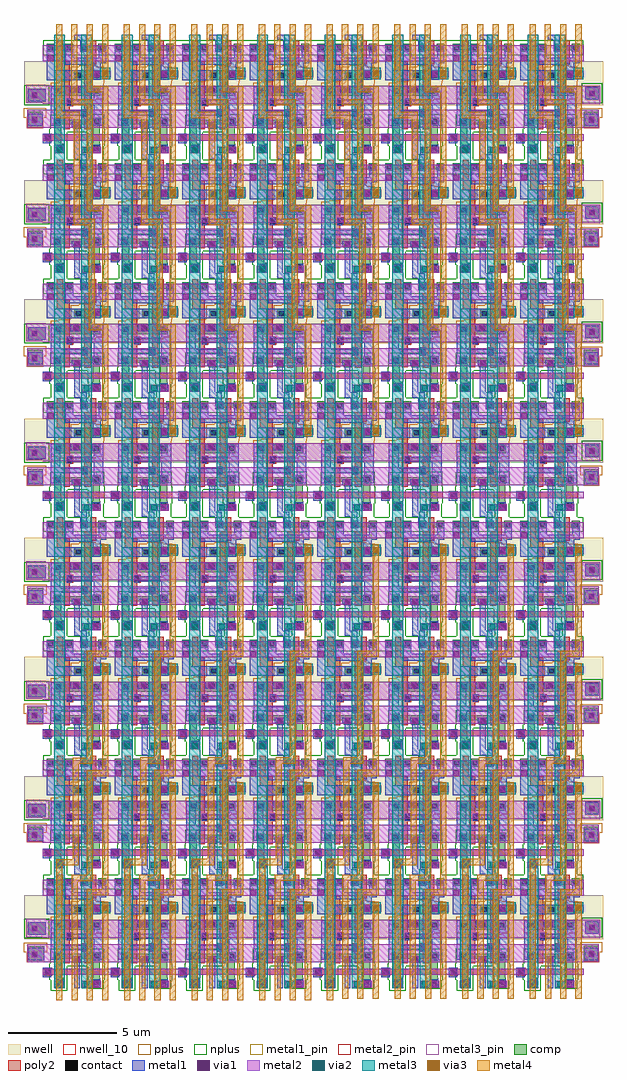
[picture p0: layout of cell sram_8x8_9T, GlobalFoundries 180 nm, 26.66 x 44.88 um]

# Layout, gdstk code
import gdstk
lib = gdstk.Library(unit=1e-6, precision=1e-09)
def R(c, l, rs):  # rectangles x0, y0, x1, y1
    for r in rs: c.add(gdstk.rectangle(r[:2], r[2:], *l))
def A(c, l, x, y, w, h, nx, ny, dx, dy):  # array of equal rectangles
    R(c, l, [(x+i*dx, y+j*dy, x+i*dx+w, y+j*dy+h) for i in range(nx) for j in range(ny)])
nwell = (21, 0)
nwell_10 = (21, 10)
comp = (22, 0)
poly2 = (30, 0)
pplus = (31, 0)
nplus = (32, 0)
contact = (33, 0)
metal1 = (34, 0)
metal1_pin = (34, 10)
via1 = (35, 0)
metal2 = (36, 0)
metal2_pin = (36, 10)
via2 = (38, 0)
via3 = (40, 0)
metal3 = (42, 0)
metal3_pin = (42, 10)
metal4 = (46, 0)

c_9t_tileable = lib.new_cell('9T_tileable')
R(c_9t_tileable, nwell, [(-0.715,-0.395,2.395,1.63)])
R(c_9t_tileable, nwell_10, [(0.595,0.165,1.01,0.485)])
R(c_9t_tileable, comp, [(-0.185,-2.6,0.255,-2.165), (1.555,-2.515,1.915,-2.17), (1.575,-2.17,1.895,-1.34), (-0.185,-2.165,0.135,-1.35), (0.675,-1.48,1.035,-1.28), (-0.225,-1.35,0.135,-1.28), (1.575,-1.34,1.935,-1.28), (-0.225,-1.28,1.935,-1.06), (-0.225,-1.06,0.135,-0.99), (1.575,-1.06,1.935,-0.985), (-0.205,0.04,1.915,0.48), (0.735,0.76,1.935,0.895), (0.735,0.895,1.955,1.185), (0.735,1.185,1.935,1.2), (-0.53,2.06,-0.17,2.125), (0.31,2.06,0.67,2.125), (0.995,2.06,1.355,2.125), (1.835,2.06,2.195,2.125), (-0.53,2.125,0.67,2.345), (0.995,2.125,2.195,2.345), (-0.53,2.345,-0.17,2.42), (0.31,2.345,0.67,2.42), (0.995,2.345,1.355,2.42), (1.835,2.345,2.195,2.42)])
R(c_9t_tileable, poly2, [(-0.65,-2.065,-0.29,-2.025), (-0.65,-2.025,2.115,-1.745), (-0.65,-1.745,-0.29,-1.705), (1.195,-1.505,1.475,-0.96), (0.235,-1.5,0.515,-0.445), (1.05,-0.96,1.475,-0.58), (1.195,-0.58,1.475,1.485), (0.235,-0.445,0.675,-0.08), (0.235,-0.08,0.515,1.18), (-0.07,1.18,0.515,1.615), (1.195,1.485,1.735,1.92), (-0.07,1.615,0.21,2.565), (1.455,1.92,1.735,2.565)])
R(c_9t_tileable, pplus, [(0.005,-0.19,1.705,-0.12), (-0.365,-0.12,2.075,0.6), (-0.365,0.6,2.095,0.64), (0.005,0.64,2.095,0.71), (0.575,0.71,2.095,0.735), (0.575,0.735,2.115,1.345), (0.575,1.345,2.095,1.36), (0.965,1.36,1.705,1.43)])
R(c_9t_tileable, nplus, [(-0.345,-2.76,0.415,-2.255), (1.395,-2.675,2.075,-2.255), (-0.415,-2.255,0.415,-1.64), (1.345,-2.255,2.125,-1.64), (-0.415,-1.64,2.125,-1.515), (-0.385,-1.515,2.095,-0.83), (1.415,-0.83,2.095,-0.825), (-0.3,1.895,0.44,1.9), (1.225,1.895,1.965,1.9), (-0.69,1.9,2.355,2.58)])
R(c_9t_tileable, contact, [(-0.035,-2.455,0.185,-2.235), (1.625,-2.445,1.845,-2.225), (-0.58,-1.995,-0.36,-1.775), (0.745,-1.41,0.965,-1.19), (-0.155,-1.28,0.065,-1.06), (1.645,-1.275,1.865,-1.055), (1.12,-0.875,1.34,-0.655), (0.385,-0.37,0.605,-0.15), (-0.135,0.15,0.085,0.37), (1.625,0.15,1.845,0.37), (0.745,0.17,0.965,0.39), (0.805,0.87,1.025,1.09), (1.645,0.87,1.865,1.09), (-0.46,2.13,-0.24,2.35), (0.38,2.13,0.6,2.35), (1.065,2.13,1.285,2.35), (1.905,2.13,2.125,2.35)])
R(c_9t_tileable, metal1, [(0.72,-2.645,0.985,-1.43), (-0.105,-2.6,0.285,-2.22), (1.525,-2.6,1.915,-2.22), (-0.715,-2.14,-0.325,-1.705), (0.62,-1.43,1.075,-1.165), (1.575,-1.35,2.065,-0.985), (-0.355,-1.335,0.11,-0.89), (1.62,-0.985,2.065,-0.365), (1.115,-0.935,1.345,-0.89), (-0.355,-0.89,1.345,-0.66), (-0.355,-0.66,0.09,0.145), (1.115,-0.66,1.345,-0.595), (0.38,-0.43,0.61,-0.365), (0.38,-0.365,2.065,-0.135), (0.38,-0.135,0.61,-0.09), (1.62,-0.135,2.065,0.145), (-0.355,0.145,0.13,0.475), (1.56,0.145,2.065,0.48), (0.535,0.165,1.07,0.485), (-0.53,0.755,1.075,1.2), (1.585,0.76,1.955,1.45), (-0.53,1.2,-0.17,2.37), (0.31,1.45,1.955,1.53), (0.31,1.53,2.195,1.775), (0.31,1.775,0.675,2.37), (1.86,1.775,2.195,2.12), (0.995,2.06,1.355,2.42), (1.835,2.12,2.195,2.355), (0.995,2.42,1.29,2.6), (0.72,2.6,1.29,2.835)])
R(c_9t_tileable, metal1_pin, [(-0.53,0.755,-0.17,1.63), (1.585,1.185,1.955,1.775)])
R(c_9t_tileable, via1, [(-0.045,-2.575,0.215,-2.315), (1.595,-2.575,1.855,-2.315), (-0.64,-2.01,-0.38,-1.75), (0.725,-1.43,0.985,-1.17), (0.67,0.195,0.93,0.455), (1.695,0.91,1.955,1.17), (-0.485,1.63,-0.225,1.89)])
R(c_9t_tileable, metal2, [(-0.205,-2.615,0.295,-2.305), (1.055,-2.615,1.955,-2.305), (-0.715,-2.025,2.395,-1.74), (-0.715,-1.44,2.395,-0.61), (-0.715,-0.33,2.395,0.5), (1.635,0.88,2.395,1.195), (-0.715,1.615,2.395,2.35)])
R(c_9t_tileable, metal2_pin, [(-0.64,-2.01,-0.38,-1.75), (0.725,-1.43,0.985,-1.165)])
R(c_9t_tileable, via2, [(-0.085,-2.59,0.175,-2.33), (1.165,-2.585,1.425,-2.325), (2.02,0.905,2.28,1.165)])
R(c_9t_tileable, via3, [(2.015,0.945,2.275,1.205)])
R(c_9t_tileable, metal3, [(-0.195,-2.645,0.295,2.835), (1.055,-2.645,1.54,-1.46), (1.05,-1.46,1.54,2.835), (1.925,0.8,2.37,1.315)])
R(c_9t_tileable, metal3_pin, [(-0.145,-2.6,0.24,-2.32), (1.105,-2.595,1.49,-2.315)])
R(c_9t_tileable, metal4, [(2.005,0.815,2.285,1.34)])
c_9t_tileable.add(gdstk.Label('Q', (1.842,-0.452), layer=34, texttype=0))
c_9t_tileable.add(gdstk.Label('QB', (-0.132,-0.455), layer=34, texttype=0))
c_9t_tileable.add(gdstk.Label('WBL', (0.047,-2.46), layer=42, texttype=10))
c_9t_tileable.add(gdstk.Label('WBLB', (1.297,-2.455), layer=36, texttype=10))
c_9t_tileable.add(gdstk.Label('WL', (-0.51,-1.88), layer=36, texttype=10))
c_9t_tileable.add(gdstk.Label('A', (-0.35,1.192), layer=34, texttype=10))
c_9t_tileable.add(gdstk.Label('RBL', (1.77,1.48), layer=34, texttype=10))
c_9t_tileable.add(gdstk.Label('VDD', (0.802,0.325), layer=21, texttype=10))
c_9t_tileable.add(gdstk.Label('VSS', (0.855,-1.297), layer=36, texttype=10))

sram_8x8_9t = lib.new_cell('sram_8x8_9T')
A(sram_8x8_9t, nwell, 24.88, 2.25, 0.89, 2.025, 1, 8, 0, 5.48)
A(sram_8x8_9t, nwell, -0.855, 18.795, 0.995, 0.83, 1, 5, 0, 5.48)
R(sram_8x8_9t, nwell, [(-0.855,2.25,0.005,2.355), (-0.855,2.355,0.14,3.185), (-0.855,3.185,0.005,4.275), (2.72,3.43,3,3.46), (-0.855,7.73,0.005,7.835), (-0.855,7.835,0.14,8.665), (-0.855,8.665,0.005,9.755), (-0.855,13.21,0.005,13.32), (-0.855,13.32,0.14,14.15), (-0.855,14.15,0.005,15.235), (-0.855,18.69,0.005,18.795), (-0.855,19.625,0.005,20.715), (-0.855,24.17,0,24.275), (-0.855,25.105,0,26.195), (-0.855,29.65,0,29.755), (-0.855,30.585,0,31.675), (-0.855,35.13,0.005,35.235), (-0.855,36.065,0.005,37.155), (-0.855,40.61,0,40.715), (-0.855,41.545,0,42.635)])
A(sram_8x8_9t, comp, 24.94, 2.5, 0.63, 0.59, 1, 8, 0, 5.48)
A(sram_8x8_9t, comp, -0.7, 18.85, 0.84, 0.59, 1, 5, 0, 5.48)
A(sram_8x8_9t, comp, -0.725, 28.605, 0.725, 0.75, 1, 3, 0, 5.48)
R(sram_8x8_9t, comp, [(-0.725,1.205,0.05,1.935), (24.88,1.21,25.565,1.95), (-0.7,2.455,0.14,3.045), (24.88,6.69,25.565,7.43), (-0.725,6.735,0.005,7.435), (-0.7,7.89,0.14,8.48), (-0.725,12.17,0.005,12.915), (24.88,12.175,25.565,12.91), (-0.7,13.375,0.14,13.965), (-0.725,17.645,0.005,18.395), (24.88,17.65,25.565,18.39), (-0.725,23.13,0,23.875), (24.88,23.13,25.565,23.87), (24.88,28.605,25.565,29.35), (24.88,34.09,25.565,34.83), (24.88,39.565,25.565,40.305)])
A(sram_8x8_9t, pplus, 24.72, 1.66, 1.005, 0.45, 1, 7, 0, 5.48)
A(sram_8x8_9t, pplus, -0.885, 7.14, 1.05, 0.455, 1, 3, 0, 5.48)
A(sram_8x8_9t, pplus, -0.885, 23.58, 1.045, 0.455, 1, 4, 0, 5.48)
A(sram_8x8_9t, pplus, -0.745, 28.585, 0.765, 0.475, 1, 3, 0, 5.48)
R(sram_8x8_9t, pplus, [(-0.745,1.185,0.07,1.66), (24.86,1.19,25.585,1.66), (-0.885,1.66,0.21,2.095), (24.86,6.67,25.585,7.14), (-0.745,6.715,0.025,7.14), (-0.745,12.15,0.025,12.62), (24.86,12.155,25.585,12.62), (-0.745,17.625,0.025,18.1), (24.86,17.63,25.585,18.1), (-0.745,23.11,0.02,23.58), (24.86,23.11,25.585,23.58), (24.86,28.585,25.585,29.06), (24.86,34.07,25.585,34.54), (24.86,39.545,25.585,40.02), (24.72,40.02,25.725,40.465)])
A(sram_8x8_9t, nplus, 24.78, 2.34, 0.95, 0.91, 1, 8, 0, 5.48)
A(sram_8x8_9t, nplus, 3.07, 4.545, 0.065, 0.68, 7, 8, 3.11, 5.48)
A(sram_8x8_9t, nplus, 0.37, 5.225, 0.76, 0.14, 8, 7, 3.11, 5.48)
A(sram_8x8_9t, nplus, 2.11, 5.225, 0.68, 0.225, 8, 7, 3.11, 5.48)
A(sram_8x8_9t, nplus, -0.86, 18.69, 1.16, 0.91, 1, 5, 0, 5.48)
R(sram_8x8_9t, nplus, [(-0.86,2.295,0.3,3.205), (-0.86,7.73,0.3,8.64), (-0.86,13.215,0.3,14.125)])
A(sram_8x8_9t, contact, 25.11, 1.465, 0.22, 0.22, 1, 8, 0, 5.48)
A(sram_8x8_9t, contact, 25.14, 2.68, 0.22, 0.22, 1, 8, 0, 5.48)
R(sram_8x8_9t, contact, [(-0.495,1.465,-0.275,1.685), (-0.495,2.64,-0.275,2.86), (-0.495,6.945,-0.275,7.165), (-0.495,8.075,-0.275,8.295), (-0.495,12.425,-0.275,12.645), (-0.495,13.56,-0.275,13.78), (-0.495,17.905,-0.275,18.125), (-0.495,19.035,-0.275,19.255), (-0.495,23.385,-0.275,23.605), (-0.495,24.515,-0.275,24.735), (-0.495,28.83,-0.275,29.05), (-0.495,29.995,-0.275,30.215), (-0.495,34.345,-0.275,34.565), (-0.495,35.475,-0.275,35.695), (-0.495,39.825,-0.275,40.045), (-0.495,40.955,-0.275,41.175)])
A(sram_8x8_9t, metal1, 24.92, 1.29, 0.605, 0.565, 1, 8, 0, 5.48)
A(sram_8x8_9t, metal1, 24.95, 2.51, 0.605, 0.565, 1, 8, 0, 5.48)
A(sram_8x8_9t, metal1, -0.685, 6.77, 0.69, 0.565, 1, 3, 0, 5.48)
A(sram_8x8_9t, metal1, -0.685, 18.865, 0.815, 0.565, 1, 5, 0, 5.48)
A(sram_8x8_9t, metal1, -0.685, 23.21, 0.685, 0.565, 1, 4, 0, 5.48)
R(sram_8x8_9t, metal1, [(-0.685,1.29,0.05,1.855), (-0.685,2.47,0.13,3.035), (-0.685,7.905,0.13,8.47), (-0.685,13.39,0.13,13.955)])
A(sram_8x8_9t, via1, 25.09, 1.445, 0.26, 0.26, 1, 8, 0, 5.48)
A(sram_8x8_9t, via1, 25.12, 2.66, 0.26, 0.26, 1, 8, 0, 5.48)
R(sram_8x8_9t, via1, [(-0.515,1.425,-0.255,1.685), (-0.515,2.62,-0.255,2.88), (-0.515,6.925,-0.255,7.185), (-0.515,8.055,-0.255,8.315), (-0.515,12.405,-0.255,12.665), (-0.515,13.54,-0.255,13.8), (-0.515,17.885,-0.255,18.145), (-0.515,19.015,-0.255,19.275), (-0.515,23.365,-0.255,23.625), (-0.515,24.495,-0.255,24.755), (-0.515,28.845,-0.255,29.105), (-0.515,29.975,-0.255,30.235), (-0.515,34.325,-0.255,34.585), (-0.515,35.455,-0.255,35.715), (-0.515,39.805,-0.255,40.065), (-0.515,40.935,-0.255,41.195)])
A(sram_8x8_9t, metal2, 24.88, 2.315, 0.745, 0.83, 1, 8, 0, 5.48)
A(sram_8x8_9t, metal2, -0.755, 18.795, 0.895, 0.83, 1, 5, 0, 5.48)
A(sram_8x8_9t, metal2, -0.73, 28.605, 0.73, 0.83, 1, 3, 0, 5.48)
R(sram_8x8_9t, metal2, [(-0.73,1.205,0.005,1.855), (24.88,1.21,25.57,2.035), (-0.73,1.855,0.05,1.935), (-0.73,1.935,0.005,2.035), (-0.755,2.355,0.14,3.185), (24.88,6.69,25.57,7.515), (-0.73,6.735,0.005,7.515), (-0.755,7.835,0.14,8.665), (-0.73,12.17,0.005,12.995), (24.88,12.175,25.57,12.995), (-0.755,13.32,0.14,14.15), (-0.73,17.645,0.005,18.475), (24.88,17.65,25.57,18.475), (-0.73,23.13,0,23.955), (24.88,23.13,25.57,23.955), (24.88,28.605,25.57,29.435), (24.88,34.09,25.57,34.915), (24.88,39.565,25.57,40.395)])
R(sram_8x8_9t, metal3, [(14.575,0,14.675,0.05)])
A(sram_8x8_9t, metal4, 3.73, -0.54, 0.28, 6.205, 4, 1, 3.11, 0)
A(sram_8x8_9t, metal4, 4.43, -0.54, 0.28, 5.475, 3, 1, 3.11, 0)
A(sram_8x8_9t, metal4, 5.13, -0.54, 0.28, 4.82, 3, 1, 3.11, 0)
A(sram_8x8_9t, metal4, 13.76, -0.49, 0.28, 5.425, 4, 1, 3.11, 0)
A(sram_8x8_9t, metal4, 14.46, -0.49, 0.28, 4.77, 4, 1, 3.11, 0)
A(sram_8x8_9t, metal4, 15.16, -0.49, 0.28, 4.475, 4, 1, 3.11, 0)
A(sram_8x8_9t, metal4, 16.17, -0.49, 0.28, 6.155, 3, 1, 3.11, 0)
A(sram_8x8_9t, metal4, 2.02, 4.275, 0.98, 0.28, 1, 3, 0, 5.48)
A(sram_8x8_9t, metal4, 5.13, 4.28, 0.98, 0.28, 7, 3, 3.11, 5.48)
A(sram_8x8_9t, metal4, 8.94, 4.56, 0.28, 4.905, 6, 2, 3.11, 5.48)
A(sram_8x8_9t, metal4, 4.43, 4.935, 0.98, 0.28, 7, 1, 3.11, 0)
A(sram_8x8_9t, metal4, 5.13, 5.215, 0.28, 4.545, 7, 1, 3.11, 0)
A(sram_8x8_9t, metal4, 3.73, 5.665, 1.03, 0.28, 7, 1, 3.11, 0)
A(sram_8x8_9t, metal4, 4.48, 5.945, 0.28, 4.39, 7, 1, 3.11, 0)
A(sram_8x8_9t, metal4, 4.48, 10.335, 0.93, 0.28, 7, 1, 3.11, 0)
A(sram_8x8_9t, metal4, 5.13, 10.615, 0.28, 4.625, 7, 1, 3.11, 0)
A(sram_8x8_9t, metal4, 8.94, 15.52, 0.28, 4.9, 6, 1, 3.11, 0)
A(sram_8x8_9t, metal4, 2.72, 25.905, 0.28, 4.35, 8, 1, 3.11, 0)
A(sram_8x8_9t, metal4, 2.115, 30.255, 0.885, 0.28, 8, 1, 3.11, 0)
A(sram_8x8_9t, metal4, 2.115, 30.535, 0.28, 4.56, 8, 1, 3.11, 0)
A(sram_8x8_9t, metal4, 2.72, 31.385, 0.28, 4.34, 8, 2, 3.11, 5.48)
A(sram_8x8_9t, metal4, 1.415, 35.095, 0.98, 0.28, 8, 1, 3.11, 0)
A(sram_8x8_9t, metal4, 1.415, 35.375, 0.28, 4.64, 8, 1, 3.11, 0)
A(sram_8x8_9t, metal4, 2.015, 35.725, 0.985, 0.28, 8, 2, 3.11, 5.48)
A(sram_8x8_9t, metal4, 2.015, 36.005, 0.28, 4.595, 8, 1, 3.11, 0)
A(sram_8x8_9t, metal4, 0.605, 40.015, 1.09, 0.28, 8, 1, 3.11, 0)
A(sram_8x8_9t, metal4, 0.605, 40.295, 0.28, 4.045, 8, 1, 3.11, 0)
A(sram_8x8_9t, metal4, 1.31, 40.6, 0.985, 0.28, 8, 1, 3.11, 0)
A(sram_8x8_9t, metal4, 1.31, 40.88, 0.28, 3.46, 8, 1, 3.11, 0)
A(sram_8x8_9t, metal4, 2.015, 41.485, 0.28, 2.855, 8, 1, 3.11, 0)
A(sram_8x8_9t, metal4, 2.72, 42.345, 0.28, 1.995, 8, 1, 3.11, 0)
R(sram_8x8_9t, metal4, [(0.62,-0.54,0.9,5.66), (1.32,-0.54,1.6,4.93), (2.02,-0.54,2.3,4.275), (2.72,-0.54,3,3.46), (5.83,-0.54,6.11,3.46), (8.94,-0.54,9.22,3.985), (12.05,-0.54,12.33,3.985), (2.72,4.555,3,8.94), (5.83,4.56,6.11,8.945), (1.32,4.93,2.3,5.21), (2.02,5.21,2.3,9.755), (0.62,5.66,1.65,5.94), (1.37,5.94,1.65,10.33), (2.72,10.035,3,14.42), (5.83,10.04,6.11,14.42), (1.37,10.33,2.3,10.61), (2.02,10.61,2.3,15.235), (2.72,15.515,3,20.425), (5.83,15.52,6.11,20.425)])
r = gdstk.Reference(c_9t_tileable, (0.715,2.645)); r.repetition = gdstk.Repetition(8, 8, v1=(3.11,0), v2=(0,5.48)); sram_8x8_9t.add(r)

lib.write_gds('sram_8x8_9T.gds')
